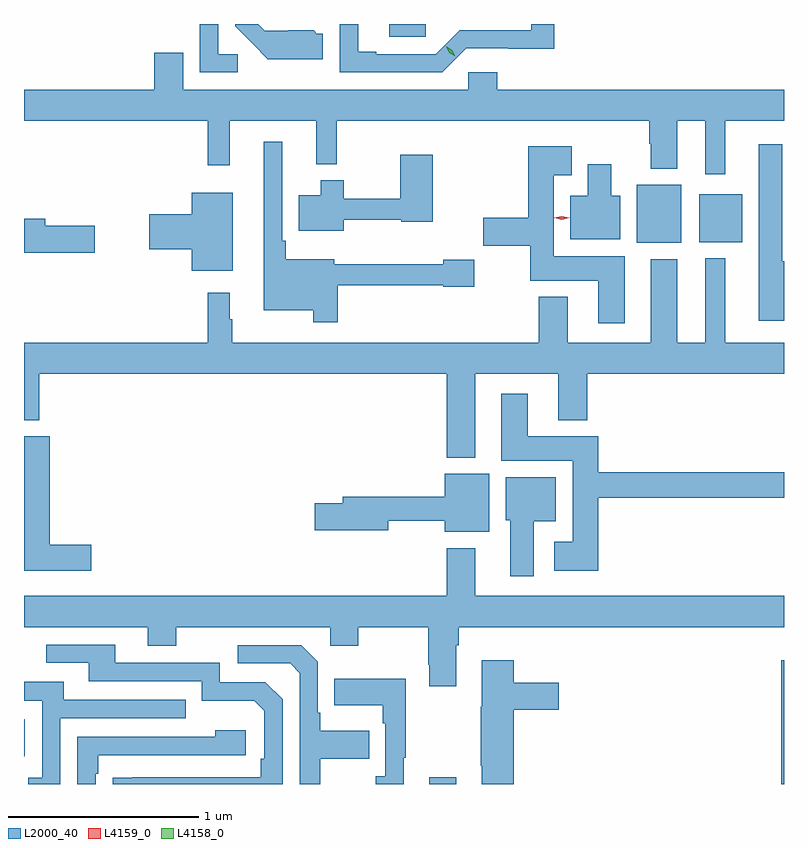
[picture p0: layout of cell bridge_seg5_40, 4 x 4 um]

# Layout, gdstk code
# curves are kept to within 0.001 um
import gdstk
lib = gdstk.Library(unit=1e-6, precision=1e-09)
def R(c, l, rs):  # rectangles x0, y0, x1, y1
    for r in rs: c.add(gdstk.rectangle(r[:2], r[2:], *l))
def P(c, l, *ps):  # polygons
    for p in ps: c.add(gdstk.Polygon(p, *l))
L2000_40 = (2000, 40)
L4158_0 = (4158, 0)
L4159_0 = (4159, 0)

bridge_seg5_40 = lib.new_cell('bridge_seg5_40')
R(bridge_seg5_40, L2000_40, [(748.691,837.286,748.831,837.322), (750.542,837.286,750.557,837.937), (749.783,840.134,750.016,840.439), (750.11,840.137,750.337,840.391), (748.479,841.218,748.671,841.286)])
P(bridge_seg5_40, L2000_40, [(748.884,841.158),(749.347,841.157),(749.347,841.286),(749.228,841.286),(749.228,841.254),(748.851,841.254),(748.725,841.128),(748.411,841.128),(748.411,841.141),(748.317,841.141),(748.317,841.286),(748.218,841.286),(748.218,841.032),(748.758,841.032)],
  [(747.682,841.128),(747.579,841.128),(747.579,841.286),(747.483,841.286),(747.483,841.032),(747.682,841.032)],
  [(748.129,841.236),(748.098,841.236),(748.082,841.252),(747.948,841.252),(747.948,841.251),(747.825,841.251),(747.79,841.286),(747.669,841.286),(747.669,841.274),(747.761,841.181),(747.841,841.1),(748.129,841.1)],
  [(750.247,840.776),(750.557,840.776),(750.557,840.94),(749.048,840.94),(749.048,841.033),(748.896,841.033),(748.896,840.94),(747.394,840.94),(747.394,841.135),(747.242,841.135),(747.242,840.94),(746.557,840.94),(746.557,840.776),(747.523,840.776),(747.523,840.543),(747.641,840.543),(747.641,840.776),(748.094,840.776),(748.094,840.548),(748.204,840.548),(748.204,840.776),(749.848,840.776),(749.848,840.656),(749.855,840.656),(749.855,840.524),(749.995,840.524),(749.995,840.776),(750.143,840.776),(750.143,840.495),(750.247,840.495)],
  [(748.208,839.91),(748.764,839.91),(748.764,839.902),(748.927,839.902),(748.927,840.046),(748.764,840.046),(748.764,840.021),(748.189,840.021),(748.189,840.049),(747.935,840.049),(747.935,840.145),(747.915,840.145),(747.915,840.667),(747.818,840.667),(747.818,839.78),(748.08,839.78),(748.08,839.715),(748.208,839.715)],
  [(750.557,840.038),(750.547,840.038),(750.547,840.652),(750.425,840.652),(750.425,839.723),(750.557,839.723)],
  [(749.719,840.064),(749.344,840.064),(749.344,840.491),(749.44,840.491),(749.44,840.643),(749.21,840.643),(749.21,840.266),(748.974,840.266),(748.974,840.119),(749.222,840.119),(749.222,839.936),(749.579,839.936),(749.579,839.712),(749.719,839.712)],
  [(748.24,840.256),(748.542,840.256),(748.542,840.245),(748.709,840.245),(748.709,840.598),(748.538,840.598),(748.538,840.367),(748.24,840.367),(748.24,840.463),(748.118,840.463),(748.118,840.385),(748.004,840.385),(748.004,840.197),(748.24,840.197)],
  [(749.695,840.382),(749.647,840.382),(749.647,840.547),(749.525,840.547),(749.525,840.382),(749.432,840.382),(749.432,840.152),(749.695,840.152)],
  [(747.655,840.397),(747.44,840.397),(747.44,840.284),(747.216,840.284),(747.216,840.101),(747.44,840.101),(747.44,839.987),(747.655,839.987)],
  [(746.929,840.224),(746.668,840.224),(746.668,840.26),(746.557,840.26),(746.557,840.082),(746.929,840.082)],
  [(748.933,839.444),(749.369,839.444),(749.369,839.201),(749.522,839.201),(749.522,839.444),(750.557,839.444),(750.557,839.608),(750.247,839.608),(750.247,840.052),(750.143,840.052),(750.143,839.608),(749.995,839.608),(749.995,840.049),(749.855,840.049),(749.855,839.608),(749.419,839.608),(749.419,839.851),(749.267,839.851),(749.267,839.608),(747.652,839.608),(747.652,839.732),(747.64,839.732),(747.64,839.872),(747.523,839.872),(747.523,839.608),(746.557,839.608),(746.557,839.201),(746.636,839.201),(746.636,839.444),(748.781,839.444),(748.781,839.003),(748.933,839.003)],
  [(749.579,838.792),(750.557,838.792),(750.557,838.928),(749.579,838.928),(749.579,839.116),(749.209,839.116),(749.209,839.341),(749.069,839.341),(749.069,838.988),(749.444,838.988),(749.444,838.561),(749.349,838.561),(749.349,838.409),(749.579,838.409)],
  [(746.911,838.544),(746.693,838.544),(746.693,839.116),(746.557,839.116),(746.557,838.988),(746.558,838.988),(746.558,838.561),(746.557,838.561),(746.557,838.409),(746.911,838.409)],
  [(749.005,838.918),(748.772,838.918),(748.772,838.799),(748.235,838.799),(748.235,838.763),(748.086,838.763),(748.086,838.621),(748.474,838.621),(748.474,838.671),(748.772,838.671),(748.772,838.613),(749.005,838.613)],
  [(749.239,838.67),(749.356,838.67),(749.356,838.9),(749.093,838.9),(749.093,838.674),(749.117,838.674),(749.117,838.38),(749.239,838.38)],
  [(748.831,838.016),(748.844,838.016),(748.844,838.112),(750.557,838.112),(750.557,838.276),(748.933,838.276),(748.933,838.528),(748.781,838.528),(748.781,838.276),(746.557,838.276),(746.557,838.112),(747.209,838.112),(747.209,838.013),(747.357,838.013),(747.357,838.112),(748.17,838.112),(748.17,838.013),(748.317,838.013),(748.317,838.112),(748.684,838.112),(748.684,837.913),(748.691,837.913),(748.691,837.801),(748.831,837.801)],
  [(747.918,837.732),(747.828,837.822),(747.588,837.822),(747.588,837.924),(747.037,837.924),(747.037,838.02),(746.673,838.02),(746.673,837.924),(746.897,837.924),(746.897,837.828),(747.492,837.828),(747.492,837.725),(747.769,837.725),(747.822,837.672),(747.822,837.418),(747.802,837.418),(747.802,837.321),(747.025,837.32),(747.025,837.286),(747.918,837.286)],
  [(748.117,837.418),(748.373,837.418),(748.373,837.565),(748.117,837.565),(748.117,837.661),(748.104,837.661),(748.104,837.93),(748.017,838.017),(747.681,838.017),(747.681,837.921),(747.957,837.921),(748.008,837.87),(748.008,837.286),(748.117,837.286)],
  [(749.135,837.677),(749.371,837.677),(749.371,837.819),(749.135,837.819),(749.135,837.937),(748.967,837.937),(748.967,837.693),(748.96,837.693),(748.96,837.382),(748.967,837.382),(748.967,837.286),(749.135,837.286)],
  [(748.555,837.425),(748.567,837.425),(748.567,837.841),(748.189,837.841),(748.189,837.701),(748.446,837.701),(748.446,837.605),(748.458,837.605),(748.458,837.326),(748.407,837.326),(748.407,837.286),(748.555,837.286)],
  [(746.748,837.633),(747.407,837.633),(747.407,837.729),(746.767,837.729),(746.767,837.823),(746.557,837.823),(746.557,837.723),(746.652,837.723),(746.652,837.318),(746.58,837.318),(746.58,837.286),(746.748,837.286)],
  [(746.562,837.434),(746.562,837.628),(746.557,837.628),(746.557,837.429)],
  [(746.934,837.341),(746.947,837.341),(746.947,837.438),(747.724,837.438),(747.724,837.568),(747.563,837.568),(747.563,837.534),(746.838,837.534),(746.838,837.286),(746.934,837.286)])
P(bridge_seg5_40, L4158_0, [(748.828,841.117),(748.796,841.136),(748.779,841.168),(748.779,841.169),(748.78,841.169),(748.811,841.149),(748.828,841.117),(748.828,841.117)])
P(bridge_seg5_40, L4159_0, [(749.388,840.255),(749.348,840.265),(749.348,840.265),(749.348,840.265),(749.387,840.275),(749.427,840.266),(749.427,840.265),(749.427,840.265)])

lib.write_gds('bridge_seg5_40.gds')
